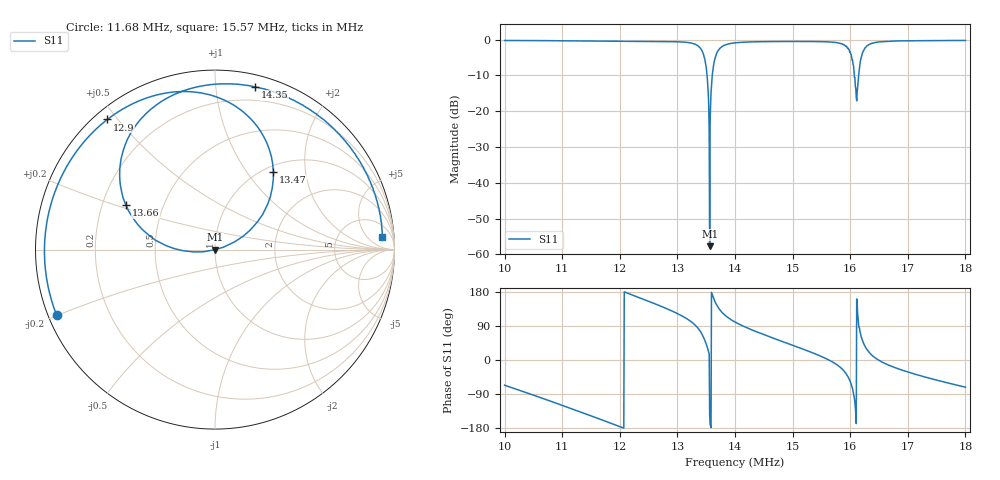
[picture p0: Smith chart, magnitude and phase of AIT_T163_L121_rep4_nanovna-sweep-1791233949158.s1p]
! NanoVNA Web complex sweep
! Processing: unaveraged complex samples; linear segment spacing; no smoothing
# Hz S RI R 50
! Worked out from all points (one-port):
!   1010 points, 10 MHz to 18 MHz, reference 50 ohm
!   lowest |S11| = -57.7 dB at 13.56 MHz (marker M1), VSWR 1.00, Z = 49.9 - j0.0776 ohm
!   |S11| at or under -10 dB: 13.51 MHz to 13.61 MHz (90.67 kHz wide, 0.669 % of centre); 16.07152 MHz to 16.14643 MHz (74.9 kHz wide, 0.465 % of centre)
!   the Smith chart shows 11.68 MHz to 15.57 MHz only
!   S11 on the Smith chart (normalised r, x): 11.68 MHz: 0.02, -0.20; 12.9 MHz: 0.04, +0.47; 13.47 MHz: 1.10, +1.35; 13.66 MHz: 0.30, +0.22; 14.35 MHz: 0.09, +1.27; 15.57 MHz: 13, +15
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1e7  0.3882 -0.894
1.100698e7  -0.4835 -0.8359
1.168095e7  -0.8828 -0.3635
1.200604e7  -0.9487 -0.0636
1.290201e7  -0.5993 0.7254
1.300509e7  -0.4982 0.7922
1.332225e7  0.000361 0.8533
1.34729e7  0.3256 0.4343
1.350462e7  0.2936 0.2527
1.35284e7  0.1959 0.1085
1.356012e7  -0.00104 -0.000778
1.359184e7  -0.2278 0.00575
1.361562e7  -0.3667 0.0787
1.365527e7  -0.4966 0.2482
1.379799e7  -0.4362 0.6991
1.400414e7  -0.1565 0.8913
1.434509e7  0.2216 0.9075
1.50032e7  0.737 0.5905
1.557409e7  0.9321 0.0697
1.58516e7  0.807 -0.3383
1.600225e7  0.3645 -0.5619
1.610533e7  -0.1549 -0.0336
1.616083e7  0.0357 0.3988
1.621634e7  0.4181 0.5157
1.630356e7  0.754 0.3511
1.643835e7  0.911 0.0814
1.700131e7  0.823 -0.5075
1.800036e7  0.307 -0.9264
